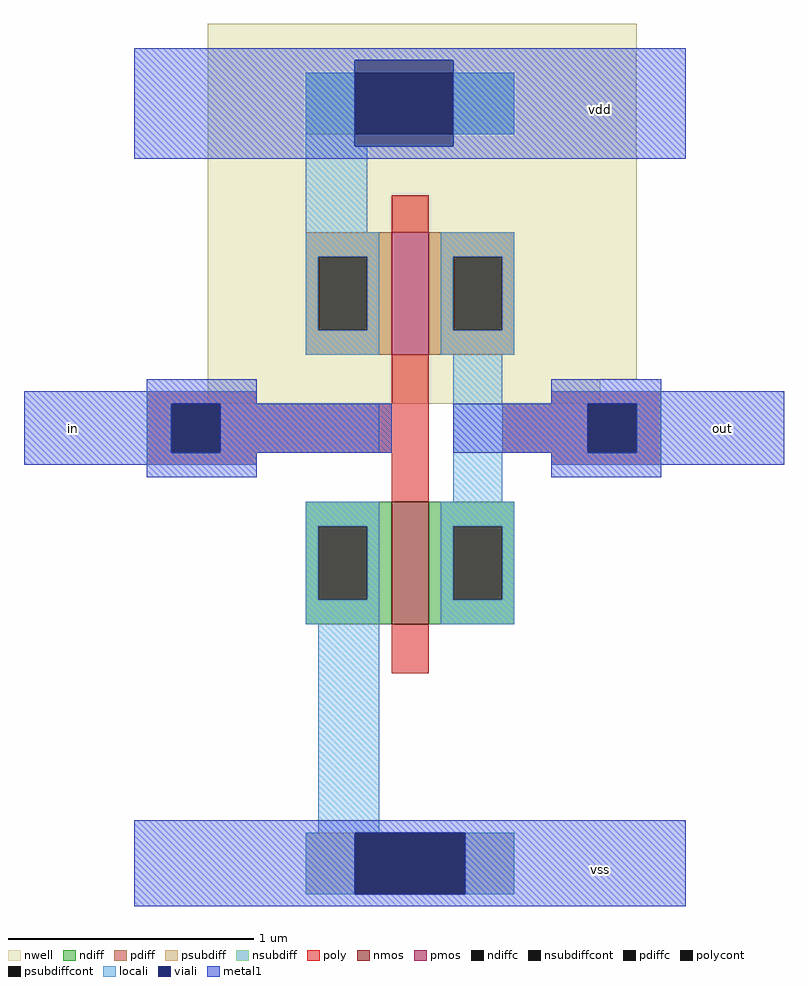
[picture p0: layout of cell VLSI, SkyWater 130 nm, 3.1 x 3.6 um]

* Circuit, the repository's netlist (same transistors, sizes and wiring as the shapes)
* SPICE3 file created from VLSI.ext - technology: sky130A

X0 out in vss vss sky130_fd_pr__nfet_01v8 ad=0.175 pd=1.7 as=0.175 ps=1.7 w=0.5 l=0.15
X1 out in vdd vdd sky130_fd_pr__pfet_01v8 ad=0.175 pd=1.7 as=0.175 ps=1.7 w=0.5 l=0.15

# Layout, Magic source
magic
tech sky130A
<< nwell >>
rect 20 -145 195 0
rect 20 -155 180 -145
<< nmos >>
rect 95 -245 110 -195
<< pmos >>
rect 95 -135 110 -85
<< ndiff >>
rect 60 -205 95 -195
rect 60 -235 65 -205
rect 85 -235 95 -205
rect 60 -245 95 -235
rect 110 -205 145 -195
rect 110 -235 120 -205
rect 140 -235 145 -205
rect 110 -245 145 -235
<< pdiff >>
rect 60 -95 95 -85
rect 60 -125 65 -95
rect 85 -125 95 -95
rect 60 -135 95 -125
rect 110 -95 145 -85
rect 110 -125 120 -95
rect 140 -125 145 -95
rect 110 -135 145 -125
<< ndiffc >>
rect 65 -235 85 -205
rect 120 -235 140 -205
<< pdiffc >>
rect 65 -125 85 -95
rect 120 -125 140 -95
<< psubdiff >>
rect 60 -355 80 -330
rect 125 -355 145 -330
<< nsubdiff >>
rect 60 -45 80 -20
rect 120 -45 145 -20
<< psubdiffcont >>
rect 80 -355 125 -330
<< nsubdiffcont >>
rect 80 -45 120 -20
<< poly >>
rect 95 -85 110 -70
rect -5 -155 40 -150
rect 95 -155 110 -135
rect 160 -155 205 -150
rect -5 -175 5 -155
rect 25 -175 110 -155
rect 140 -175 175 -155
rect 195 -175 205 -155
rect -5 -180 40 -175
rect 95 -195 110 -175
rect 160 -180 205 -175
rect 95 -265 110 -245
<< polycont >>
rect 5 -175 25 -155
rect 175 -175 195 -155
<< locali >>
rect 60 -50 80 -20
rect 120 -45 145 -20
rect 60 -85 85 -50
rect 60 -95 90 -85
rect 60 -125 65 -95
rect 85 -125 90 -95
rect 60 -135 90 -125
rect 115 -95 145 -85
rect 115 -125 120 -95
rect 140 -125 145 -95
rect 115 -135 145 -125
rect -5 -155 40 -150
rect 120 -155 140 -135
rect 160 -155 205 -150
rect -5 -175 5 -155
rect 25 -175 90 -155
rect 120 -175 175 -155
rect 195 -175 205 -155
rect -5 -180 40 -175
rect 120 -195 140 -175
rect 160 -180 205 -175
rect 60 -205 90 -195
rect 60 -235 65 -205
rect 85 -235 90 -205
rect 60 -245 90 -235
rect 115 -205 145 -195
rect 115 -235 120 -205
rect 140 -235 145 -205
rect 115 -245 145 -235
rect 65 -330 90 -245
rect 60 -355 80 -330
rect 125 -355 145 -330
<< viali >>
rect 80 -20 120 -15
rect 80 -45 120 -20
rect 80 -50 120 -45
rect 5 -175 25 -155
rect 175 -175 195 -155
rect 80 -355 125 -330
<< metal1 >>
rect -10 -15 215 -10
rect -10 -50 80 -15
rect 120 -50 215 -15
rect -10 -55 215 -50
rect -5 -150 40 -145
rect -55 -155 40 -150
rect 160 -150 205 -145
rect 160 -155 255 -150
rect -55 -175 5 -155
rect 25 -175 95 -155
rect 120 -175 175 -155
rect 195 -175 255 -155
rect -55 -180 40 -175
rect -5 -185 40 -180
rect 160 -180 255 -175
rect 160 -185 205 -180
rect -10 -330 215 -325
rect -10 -355 80 -330
rect 125 -355 215 -330
rect -10 -360 215 -355
<< labels >>
rlabel metal1 180 -35 180 -35 1 vdd
rlabel metal1 180 -345 180 -345 1 vss
rlabel metal1 -35 -165 -35 -165 1 in
rlabel metal1 230 -165 230 -165 1 out
<< end >>
